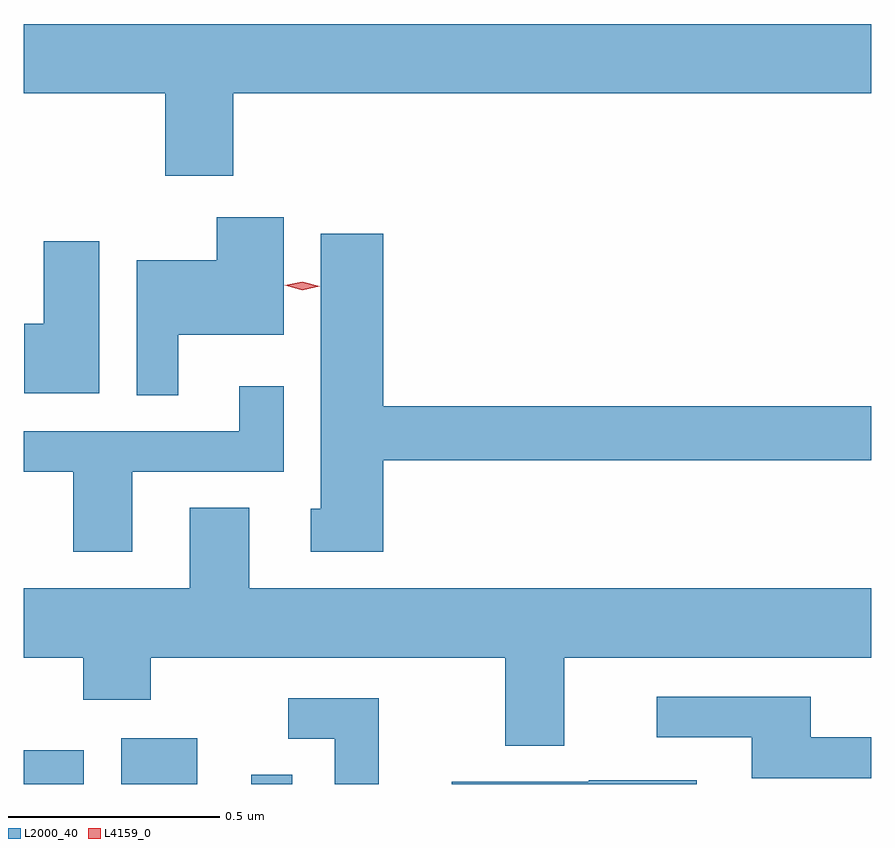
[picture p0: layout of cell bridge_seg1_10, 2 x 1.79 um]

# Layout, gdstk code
import gdstk
lib = gdstk.Library(unit=1e-6, precision=1e-09)
def R(c, l, rs):  # rectangles x0, y0, x1, y1
    for r in rs: c.add(gdstk.rectangle(r[:2], r[2:], *l))
def P(c, l, *ps):  # polygons
    for p in ps: c.add(gdstk.Polygon(p, *l))
L2000_40 = (2000, 40)
L4159_0 = (4159, 0)

bridge_seg1_10 = lib.new_cell('bridge_seg1_10')
R(bridge_seg1_10, L2000_40, [(633.291,539.446,633.432,539.526), (633.521,539.446,633.7,539.554), (633.828,539.446,633.924,539.468)])
P(bridge_seg1_10, L2000_40, [(633.785,541.076),(635.291,541.076),(635.291,541.24),(633.291,541.24),(633.291,541.076),(633.625,541.076),(633.625,540.882),(633.785,540.882)],
  [(633.655,540.506),(633.904,540.506),(633.904,540.784),(633.746,540.784),(633.746,540.682),(633.558,540.682),(633.558,540.364),(633.655,540.364)],
  [(634.139,540.21),(635.291,540.21),(635.291,540.338),(634.139,540.338),(634.139,540.745),(633.992,540.745),(633.992,540.096),(633.968,540.096),(633.968,539.994),(634.139,539.994)],
  [(633.469,540.727),(633.338,540.727),(633.338,540.533),(633.292,540.533),(633.292,540.368),(633.469,540.368)],
  [(633.547,540.183),(633.904,540.183),(633.904,540.385),(633.8,540.385),(633.8,540.279),(633.291,540.279),(633.291,540.183),(633.407,540.183),(633.407,539.994),(633.547,539.994)],
  [(634.567,539.744),(635.291,539.744),(635.291,539.908),(633.823,539.908),(633.823,540.098),(633.683,540.098),(633.683,539.908),(633.291,539.908),(633.291,539.744),(633.431,539.744),(633.431,539.645),(633.591,539.645),(633.591,539.744),(634.427,539.744),(634.427,539.536),(634.567,539.536)],
  [(635.291,539.556),(635.149,539.556),(635.149,539.652),(634.785,539.652),(634.785,539.556),(635.009,539.556),(635.009,539.46),(635.291,539.46)],
  [(634.129,539.649),(633.915,539.649),(633.915,539.553),(634.025,539.553),(634.025,539.446),(634.129,539.446)],
  [(634.879,539.455),(634.625,539.455),(634.625,539.451),(634.301,539.451),(634.301,539.446),(634.879,539.446)])
P(bridge_seg1_10, L4159_0, [(633.948,540.612),(633.907,540.623),(633.907,540.623),(633.907,540.623),(633.948,540.632),(633.989,540.621),(633.989,540.621),(633.989,540.621)])

lib.write_gds('bridge_seg1_10.gds')
